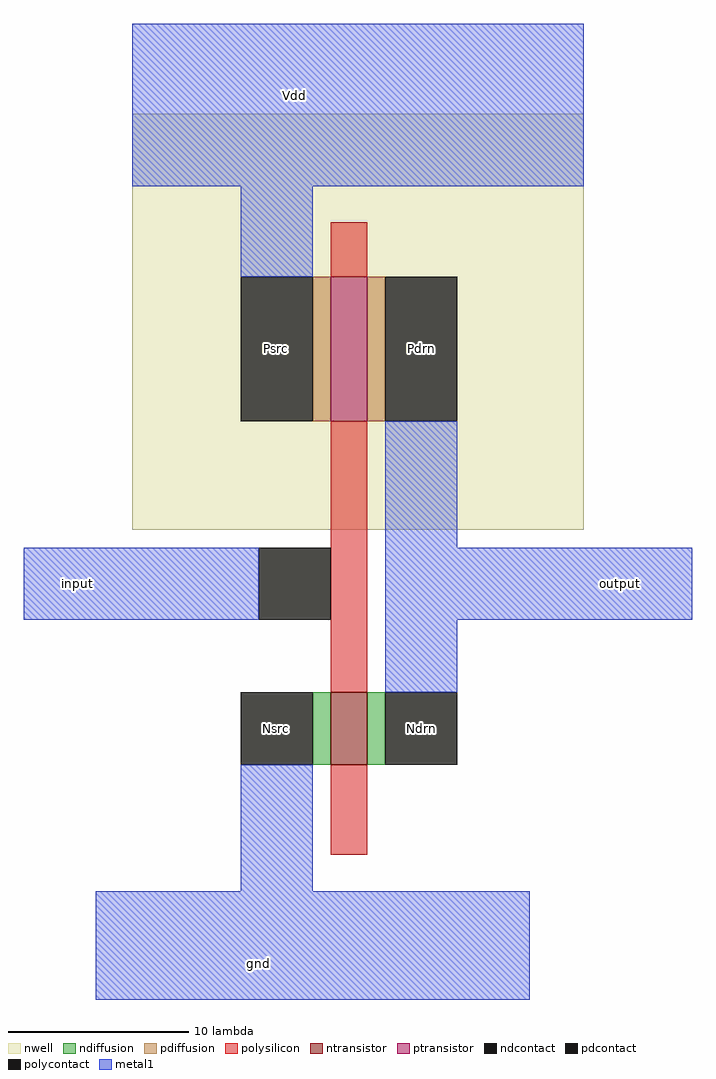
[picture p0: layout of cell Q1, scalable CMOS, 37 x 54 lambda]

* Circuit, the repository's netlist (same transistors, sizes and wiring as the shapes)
* SPICE3 file created from Q1.ext - technology: scmos

.option scale=0.09u

M1000 Pdrn input Vdd w_0_0# pfet w=8 l=2
+  ad=40 pd=26 as=40 ps=26
M1001 Pdrn input gnd Gnd nfet w=4 l=2
+  ad=20 pd=18 as=20 ps=18

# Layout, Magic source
magic
tech scmos
<< nwell >>
rect 0 0 25 23
<< ntransistor >>
rect 11 -13 13 -9
<< ptransistor >>
rect 11 6 13 14
<< ndiffusion >>
rect 10 -13 11 -9
rect 13 -13 14 -9
<< pdiffusion >>
rect 10 6 11 14
rect 13 6 14 14
<< ndcontact >>
rect 6 -13 10 -9
rect 14 -13 18 -9
<< pdcontact >>
rect 6 6 10 14
rect 14 6 18 14
<< polysilicon >>
rect 11 14 13 17
rect 11 -9 13 6
rect 11 -18 13 -13
<< polycontact >>
rect 7 -5 11 -1
<< metal1 >>
rect 0 19 25 28
rect 6 14 10 19
rect 14 -1 18 6
rect -6 -5 7 -1
rect 14 -5 31 -1
rect 14 -9 18 -5
rect 6 -20 10 -13
rect -2 -26 22 -20
<< labels >>
rlabel metal1 7 -24 7 -24 1 gnd
rlabel pdcontact 8 10 8 10 1 Psrc
rlabel pdcontact 16 10 16 10 1 Pdrn
rlabel metal1 -3 -3 -3 -3 3 input
rlabel metal1 27 -3 27 -3 7 output
rlabel ndcontact 8 -11 8 -11 1 Nsrc
rlabel ndcontact 16 -11 16 -11 1 Ndrn
rlabel metal1 9 24 9 24 5 Vdd
<< end >>
